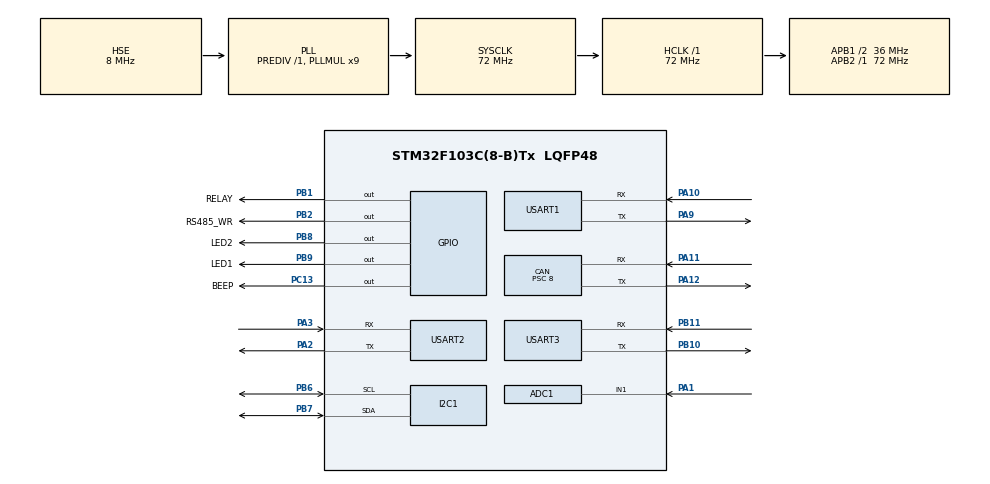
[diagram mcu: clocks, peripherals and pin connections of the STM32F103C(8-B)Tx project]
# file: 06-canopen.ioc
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ADC1.Channel-6\#ChannelRegularConversion=ADC_CHANNEL_TEMPSENSOR
ADC1.NbrOfConversionFlag=1
ADC1.Rank-6\#ChannelRegularConversion=1
ADC1.SamplingTime-6\#ChannelRegularConversion=ADC_SAMPLETIME_239CYCLES_5
ADC1.master=1
CAN.BS1=CAN_BS1_6TQ
CAN.BS2=CAN_BS2_2TQ
CAN.CalculateBaudRate=500000
CAN.CalculateTimeBit=2000
CAN.CalculateTimeQuantum=222.22222222222223
CAN.Prescaler=8
Dma.Request0=USART3_RX
Dma.USART3_RX.0.Direction=DMA_PERIPH_TO_MEMORY
Dma.USART3_RX.0.Instance=DMA1_Channel3
Dma.USART3_RX.0.MemDataAlignment=DMA_MDATAALIGN_BYTE
Dma.USART3_RX.0.MemInc=DMA_MINC_ENABLE
Dma.USART3_RX.0.Mode=DMA_CIRCULAR
Dma.USART3_RX.0.PeriphDataAlignment=DMA_PDATAALIGN_BYTE
Dma.USART3_RX.0.PeriphInc=DMA_PINC_DISABLE
Dma.USART3_RX.0.Priority=DMA_PRIORITY_HIGH
Mcu.Family=STM32F1
Mcu.Name=STM32F103C(8-B)Tx
Mcu.Package=LQFP48
NVIC.DMA1_Channel3_IRQn=true\:0\:0\:false\:false\:true\:false\:true\:true
NVIC.PriorityGroup=NVIC_PRIORITYGROUP_4
NVIC.TIM1_UP_IRQn=true\:0\:0\:false\:false\:true\:true\:true\:true
NVIC.TIM2_IRQn=true\:0\:0\:false\:false\:true\:true\:true\:true
NVIC.TIM3_IRQn=true\:2\:0\:true\:false\:false\:true\:true\:true
NVIC.TIM4_IRQn=true\:0\:0\:false\:false\:true\:true\:true\:true
NVIC.USART2_IRQn=true\:0\:0\:false\:false\:false\:true\:true\:true
NVIC.USART3_IRQn=true\:0\:0\:false\:false\:true\:true\:true\:true
NVIC.USB_LP_CAN1_RX0_IRQn=true\:0\:0\:false\:false\:true\:true\:true\:true
PA1.Signal=ADCx_IN1
PA10.Mode=Asynchronous
PA10.Signal=USART1_RX
PA11.Mode=CAN_Activate
PA11.Signal=CAN_RX
PA12.Mode=CAN_Activate
PA12.Signal=CAN_TX
PA13.Mode=Serial_Wire
PA13.Signal=SYS_JTMS-SWDIO
PA14.Mode=Serial_Wire
PA14.Signal=SYS_JTCK-SWCLK
PA2.Mode=Asynchronous
PA2.Signal=USART2_TX
PA3.Mode=Asynchronous
PA3.Signal=USART2_RX
PA9.Mode=Asynchronous
PA9.Signal=USART1_TX
PB1.GPIO_Label=RELAY
PB1.Signal=GPIO_Output
PB10.Mode=Asynchronous
PB10.Signal=USART3_TX
PB11.Mode=Asynchronous
PB11.Signal=USART3_RX
PB2.GPIO_Label=RS485_WR
PB2.GPIO_Speed=GPIO_SPEED_FREQ_MEDIUM
PB2.Signal=GPIO_Output
PB6.Mode=I2C
PB6.Signal=I2C1_SCL
PB7.Mode=I2C
PB7.Signal=I2C1_SDA
PB8.GPIO_Label=LED2
PB8.PinState=GPIO_PIN_SET
PB8.Signal=GPIO_Output
PB9.GPIO_Label=LED1
PB9.PinState=GPIO_PIN_SET
PB9.Signal=GPIO_Output
PC13-TAMPER-RTC.GPIO_Label=BEEP
PC13-TAMPER-RTC.Signal=GPIO_Output
PD0-OSC_IN.Mode=HSE-External-Oscillator
PD0-OSC_IN.Signal=RCC_OSC_IN
PD1-OSC_OUT.Mode=HSE-External-Oscillator
PD1-OSC_OUT.Signal=RCC_OSC_OUT
ProjectManager.HeapSize=0x200
ProjectManager.StackSize=0x400
ProjectManager.TargetToolchain=MDK-ARM V5.32
RCC.ADCPresc=RCC_ADCPCLK2_DIV6
RCC.AHBFreq_Value=72000000
RCC.APB1CLKDivider=RCC_HCLK_DIV2
RCC.APB1Freq_Value=36000000
RCC.APB1TimFreq_Value=72000000
RCC.APB2Freq_Value=72000000
RCC.APB2TimFreq_Value=72000000
RCC.HCLKFreq_Value=72000000
RCC.PLLMUL=RCC_PLL_MUL9
RCC.PLLSourceVirtual=RCC_PLLSOURCE_HSE
RCC.RTCClockSelection=RCC_RTCCLKSOURCE_LSE
RCC.SYSCLKFreq_VALUE=72000000
RCC.SYSCLKSource=RCC_SYSCLKSOURCE_PLLCLK
RCC.USBFreq_Value=72000000
SH.ADCx_IN1.0=ADC1_IN1,IN1
TIM1.AutoReloadPreload=TIM_AUTORELOAD_PRELOAD_ENABLE
TIM1.Period=5000
TIM1.Prescaler=7200-1
TIM2.AutoReloadPreload=TIM_AUTORELOAD_PRELOAD_ENABLE
TIM2.Period=0x2000
TIM2.Prescaler=72-1
TIM3.AutoReloadPreload=TIM_AUTORELOAD_PRELOAD_ENABLE
TIM3.Period=100
TIM3.Prescaler=3599
TIM4.AutoReloadPreload=TIM_AUTORELOAD_PRELOAD_DISABLE
TIM4.Period=100
TIM4.Prescaler=7200-1
USART1.VirtualMode=VM_ASYNC
USART2.VirtualMode=VM_ASYNC
USART3.VirtualMode=VM_ASYNC
VP_ADC1_TempSens_Input.Mode=IN-TempSens
VP_TIM1_VS_ClockSourceINT.Mode=Internal
VP_TIM2_VS_ClockSourceINT.Mode=Internal
VP_TIM3_VS_ClockSourceINT.Mode=Internal
VP_TIM4_VS_ClockSourceINT.Mode=Internal
board=custom

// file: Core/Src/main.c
/* USER CODE BEGIN Header */
/**
  ******************************************************************************
  * @file           : main.c
  * @brief          : Main program body
  ******************************************************************************
  * @attention
  *
  * Copyright (c) 2025 STMicroelectronics.
  * All rights reserved.
  *
  * This software is licensed under terms that can be found in the LICENSE file
  * in the root directory of this software component.
  * If no LICENSE file comes with this software, it is provided AS-IS.
  *
  ******************************************************************************
  */
/* USER CODE END Header */
#include "main.h"
#include "adc.h"
#include "can.h"
#include "dma.h"
#include "i2c.h"
#include "tim.h"
#include "usart.h"
#include "gpio.h"

/* USER CODE BEGIN Includes */
#include <stdio.h>
#include "oled.h"
#include "aht20.h"
#include "ina226.h"
#include "mb.h"
#include "modbus.h"
#include "wifi4g.h"
#include "fifo.h"
#include "mqtt.h"
#include "f1can.h"
#include "canfestival.h"
#include "testslave.h"
/* USER CODE END Includes */

void SystemClock_Config(void);

int main(void)
{

  /* MCU Configuration--------------------------------------------------------*/

  /* Reset of all peripherals, Initializes the Flash interface and the Systick. */
  HAL_Init();

  /* Configure the system clock */
  SystemClock_Config();

  /* Initialize all configured peripherals */
  MX_GPIO_Init();
  MX_DMA_Init();
  MX_USART1_UART_Init();
  MX_USART2_UART_Init();
  MX_USART3_UART_Init();
  MX_TIM1_Init();
  MX_TIM2_Init();
  MX_TIM3_Init();
  MX_TIM4_Init();
  MX_I2C1_Init();
  MX_ADC1_Init();
  MX_CAN_Init();
  /* USER CODE BEGIN 2 */

	HAL_Delay(400); // 延时给 esp8266 打印日志

	__HAL_UART_ENABLE_IT(&huart3, UART_IT_IDLE); //使能串UART3 IDLE(空闲)中断
	HAL_UART_Receive_DMA(&huart3, RX3_Buf, DMA_BUF_SIZE); //设置DMA传输，将uart3的数据搬运到RX3_Buf中

	printf("Uart1 init is ok\n");
	printf("CANOpen Test\n");

	OLED_Init();
	OLED_CLS(); // 清除屏幕显示
	OLED_ShowStr(16,0, (unsigned char*)"CANOpen Test", 2);
	AHT20_Init();
	INA226_Init();
	Queue_Init(&QUART3);// 队列初始化

	HAL_TIM_Base_Start_IT(&htim1);

	Modbus_Init();

	MX_CAN_Init();
	HAL_TIM_Base_Start_IT(&htim2);//启动定时器2CANOpen
	CanFestival_Can_Init(); //初始化can过滤器
	setNodeId(&TestSlave_Data, SlaveAddress);
	setState(&TestSlave_Data, Initialisation);
	setState(&TestSlave_Data, Operational);

	//MQTT_Connect_Server();
  /* USER CODE END 2 */

  /* Infinite loop */
  /* USER CODE BEGIN WHILE */
  while (1)
  {
		eMBPoll();// 轮训查询
		Modbus_Parse(); // 500ms 周期性刷新
		if(MQTT_UPLoad_Flag)
		{
			MQTT_UPLoad_Flag = 0;
			MQTT_SendData();
		}
    /* USER CODE END WHILE */

  }
}

void SystemClock_Config(void)
{
  RCC_OscInitTypeDef RCC_OscInitStruct = {0};
  RCC_ClkInitTypeDef RCC_ClkInitStruct = {0};
  RCC_PeriphCLKInitTypeDef PeriphClkInit = {0};

  /** Initializes the RCC Oscillators according to the specified parameters
  * in the RCC_OscInitTypeDef structure.
  */
  RCC_OscInitStruct.OscillatorType = RCC_OSCILLATORTYPE_HSE;
  RCC_OscInitStruct.HSEState = RCC_HSE_ON;
  RCC_OscInitStruct.HSEPredivValue = RCC_HSE_PREDIV_DIV1;
  RCC_OscInitStruct.HSIState = RCC_HSI_ON;
  RCC_OscInitStruct.PLL.PLLState = RCC_PLL_ON;
  RCC_OscInitStruct.PLL.PLLSource = RCC_PLLSOURCE_HSE;
  RCC_OscInitStruct.PLL.PLLMUL = RCC_PLL_MUL9;
  if (HAL_RCC_OscConfig(&RCC_OscInitStruct) != HAL_OK)
  {
    Error_Handler();
  }

  /** Initializes the CPU, AHB and APB buses clocks
  */
  RCC_ClkInitStruct.ClockType = RCC_CLOCKTYPE_HCLK|RCC_CLOCKTYPE_SYSCLK
                              |RCC_CLOCKTYPE_PCLK1|RCC_CLOCKTYPE_PCLK2;
  RCC_ClkInitStruct.SYSCLKSource = RCC_SYSCLKSOURCE_PLLCLK;
  RCC_ClkInitStruct.AHBCLKDivider = RCC_SYSCLK_DIV1;
  RCC_ClkInitStruct.APB1CLKDivider = RCC_HCLK_DIV2;
  RCC_ClkInitStruct.APB2CLKDivider = RCC_HCLK_DIV1;

  if (HAL_RCC_ClockConfig(&RCC_ClkInitStruct, FLASH_LATENCY_2) != HAL_OK)
  {
    Error_Handler();
  }
  PeriphClkInit.PeriphClockSelection = RCC_PERIPHCLK_ADC;
  PeriphClkInit.AdcClockSelection = RCC_ADCPCLK2_DIV6;
  if (HAL_RCCEx_PeriphCLKConfig(&PeriphClkInit) != HAL_OK)
  {
    Error_Handler();
  }
}

void Error_Handler(void)
{
  __disable_irq();
  while (1)
  {
  }
}
